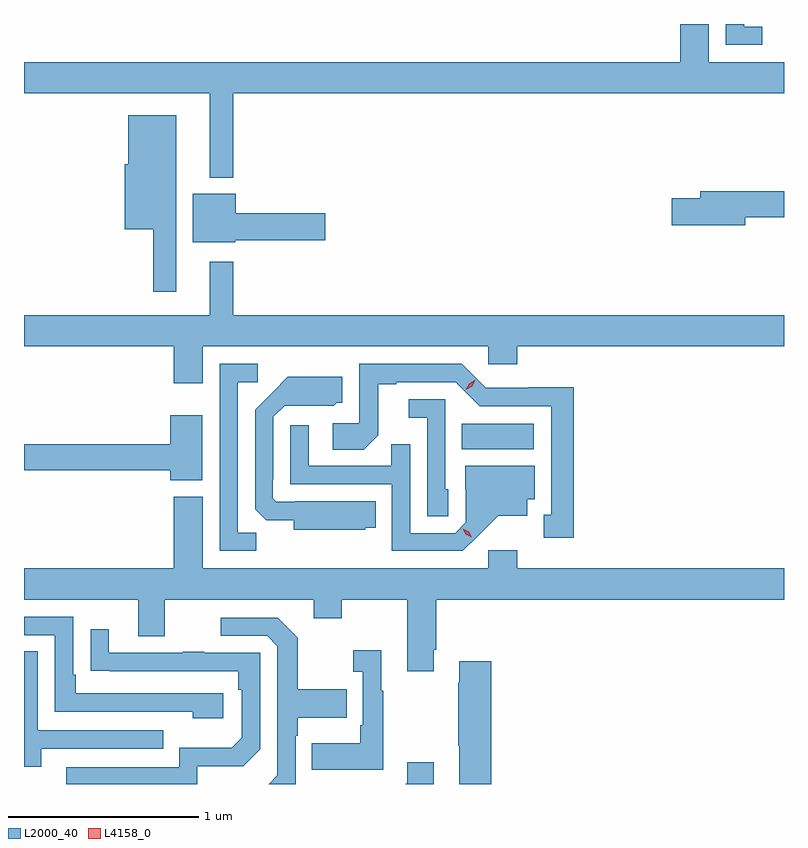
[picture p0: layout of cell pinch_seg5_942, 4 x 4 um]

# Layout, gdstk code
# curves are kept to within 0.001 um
import gdstk
lib = gdstk.Library(unit=1e-6, precision=1e-09)
def R(c, l, rs):  # rectangles x0, y0, x1, y1
    for r in rs: c.add(gdstk.rectangle(r[:2], r[2:], *l))
def P(c, l, *ps):  # polygons
    for p in ps: c.add(gdstk.Polygon(p, *l))
L2000_40 = (2000, 40)
L4158_0 = (4158, 0)

pinch_seg5_942 = lib.new_cell('pinch_seg5_942')
R(pinch_seg5_942, L2000_40, [(701.914,885.524,702.295,885.658)])
P(pinch_seg5_942, L2000_40, [(703.497,887.747),(703.401,887.747),(703.401,887.761),(703.305,887.761),(703.305,887.652),(703.497,887.652)],
  [(700.711,887.396),(703.611,887.396),(703.611,887.56),(703.216,887.56),(703.216,887.761),(703.064,887.761),(703.064,887.56),(699.611,887.56),(699.611,887.396),(700.589,887.396),(700.589,886.952),(700.711,886.952)],
  [(700.411,887.281),(700.16,887.281),(700.16,887.022),(700.142,887.022),(700.142,886.682),(700.29,886.682),(700.29,886.353),(700.411,886.353)],
  [(703.408,886.744),(703.611,886.744),(703.611,886.88),(703.169,886.88),(703.169,886.844),(703.02,886.844),(703.02,886.702),(703.408,886.702)],
  [(700.722,886.624),(701.197,886.624),(701.197,886.766),(700.726,886.766),(700.726,886.867),(700.499,886.867),(700.499,886.613),(700.722,886.613)],
  [(700.552,886.064),(702.054,886.064),(702.054,885.971),(702.206,885.971),(702.206,886.064),(703.611,886.064),(703.611,886.228),(700.711,886.228),(700.711,886.51),(700.589,886.51),(700.589,886.228),(699.611,886.228),(699.611,886.064),(700.4,886.064),(700.4,885.87),(700.552,885.87)],
  [(700.833,885.083),(700.737,885.083),(700.737,885.876),(700.84,885.876),(700.84,885.972),(700.641,885.972),(700.641,884.988),(700.833,884.988)],
  [(702.505,885.848),(702.264,885.848),(702.264,885.846),(702.042,885.846),(701.916,885.972),(701.376,885.972),(701.376,885.66),(701.235,885.66),(701.235,885.52),(701.399,885.52),(701.475,885.596),(701.475,885.864),(701.569,885.864),(701.569,885.876),(701.883,885.876),(702.009,885.75),(702.386,885.75),(702.386,885.177),(702.347,885.177),(702.347,885.057),(702.505,885.057)],
  [(701.406,885.11),(701.462,885.11),(701.462,885.25),(701.038,885.25),(701.038,885.246),(700.938,885.246),(700.92,885.264),(700.92,885.364),(700.923,885.364),(700.923,885.693),(700.983,885.753),(701.24,885.752),(701.256,885.768),(701.287,885.768),(701.287,885.904),(700.999,885.904),(700.827,885.73),(700.827,885.208),(700.886,885.149),(701.03,885.149),(701.03,885.098),(701.406,885.098)],
  [(701.844,885.312),(701.829,885.312),(701.829,885.786),(701.637,885.786),(701.637,885.689),(701.733,885.689),(701.733,885.169),(701.844,885.169)],
  [(700.549,885.703),(700.382,885.703),(700.382,885.548),(699.611,885.548),(699.611,885.412),(700.382,885.412),(700.382,885.359),(700.549,885.359)],
  [(702.004,885.071),(702.107,885.173),(702.259,885.173),(702.259,885.26),(702.298,885.26),(702.298,885.436),(701.933,885.436),(701.933,885.312),(701.937,885.312),(701.937,885.138),(701.88,885.081),(701.643,885.081),(701.643,885.548),(701.545,885.548),(701.545,885.435),(701.109,885.435),(701.109,885.649),(701.013,885.649),(701.013,885.339),(701.547,885.339),(701.547,884.988),(701.92,884.988)],
  [(703.611,884.896),(702.206,884.896),(702.206,884.992),(702.054,884.992),(702.054,884.896),(700.552,884.896),(700.552,885.274),(700.4,885.274),(700.4,884.896),(699.611,884.896),(699.611,884.732),(700.211,884.732),(700.211,884.538),(700.351,884.538),(700.351,884.732),(701.135,884.732),(701.135,884.633),(701.283,884.633),(701.283,884.732),(701.627,884.732),(701.627,884.355),(701.767,884.355),(701.767,884.467),(701.78,884.467),(701.78,884.732),(703.611,884.732)],
  [(700.66,884.238),(699.883,884.238),(699.883,884.335),(699.87,884.335),(699.87,884.64),(699.611,884.64),(699.611,884.544),(699.774,884.544),(699.774,884.142),(700.499,884.142),(700.499,884.108),(700.66,884.108)],
  [(701.04,884.015),(701.053,884.015),(701.053,884.111),(701.309,884.111),(701.309,884.259),(701.053,884.259),(701.053,884.531),(700.947,884.637),(700.647,884.637),(700.647,884.541),(700.89,884.541),(700.944,884.487),(700.944,883.806),(700.899,883.761),(701.04,883.761)],
  [(700.524,883.854),(700.764,883.854),(700.854,883.944),(700.854,884.451),(700.559,884.451),(700.559,884.456),(700.447,884.456),(700.447,884.451),(700.057,884.451),(700.057,884.575),(699.961,884.575),(699.961,884.356),(700.738,884.355),(700.738,884.258),(700.758,884.258),(700.758,884.004),(700.705,883.951),(700.428,883.951),(700.428,883.848),(699.833,883.848),(699.833,883.761),(700.524,883.761)],
  [(701.503,884.251),(701.491,884.251),(701.491,884.464),(701.343,884.464),(701.343,884.351),(701.394,884.351),(701.394,884.071),(701.382,884.071),(701.382,883.975),(701.125,883.975),(701.125,883.835),(701.503,883.835)],
  [(699.703,883.947),(700.343,883.947),(700.343,884.043),(699.684,884.043),(699.684,884.459),(699.611,884.459),(699.611,883.853),(699.703,883.853)],
  [(702.071,884.407),(701.903,884.407),(701.903,884.294),(701.896,884.294),(701.896,883.963),(701.903,883.963),(701.903,883.761),(702.071,883.761)],
  [(701.767,883.876),(701.627,883.876),(701.627,883.763),(701.62,883.763),(701.62,883.761),(701.767,883.761)])
P(pinch_seg5_942, L4158_0, [(701.937,885.835),(701.937,885.836),(701.954,885.868),(701.985,885.888),(701.986,885.888),(701.986,885.888),(701.969,885.855),(701.937,885.835)],
  [(701.968,885.06),(701.937,885.075),(701.92,885.104),(701.92,885.105),(701.92,885.105),(701.951,885.089),(701.968,885.06),(701.968,885.06)])

lib.write_gds('pinch_seg5_942.gds')
